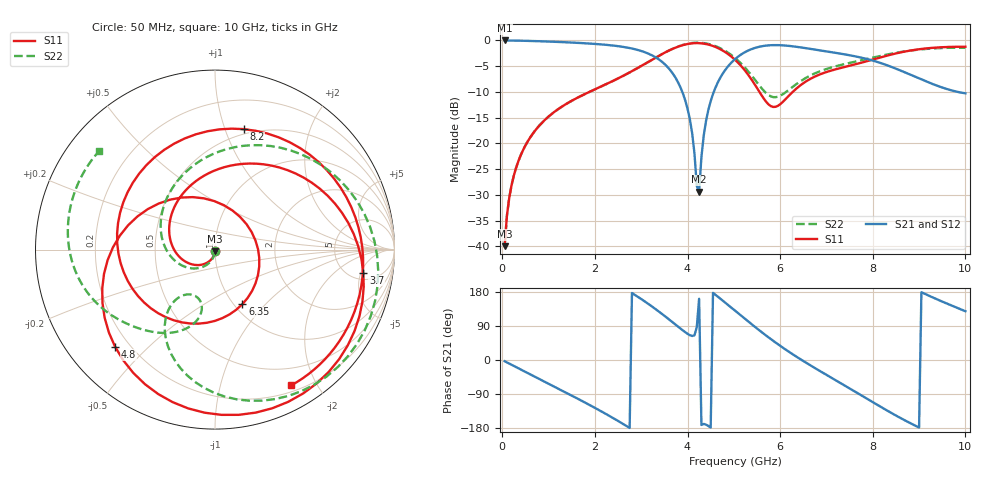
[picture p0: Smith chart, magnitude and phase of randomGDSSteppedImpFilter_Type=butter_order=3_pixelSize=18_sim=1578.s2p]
! freq	dB(S11)	phase(S11)	dB(S12)	phase(S12)
!  dB(S21)	phase(S21)	dB(S22)	phase(S22)
!S-par simulation data
#  GHz  S  DB  R 50
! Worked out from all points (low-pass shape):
!   200 points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, 50 MHz to 10 GHz, reference 50 ohm
!   highest |S21| = -0.01 dB at 50 MHz (marker M1); lowest = -29.4 dB at 4.25 GHz (marker M2)
!   |S21| within 3 dB of the highest: start of sweep to 3.256 GHz; 5.114 GHz to 7.574 GHz (2.46 GHz wide, 38.8 % of centre)
!   lowest |S11| = -40.0 dB at 50 MHz (marker M3), VSWR 1.02, Z = 50 - j1 ohm
!   |S11| at or under -10 dB: start of sweep to 1.883 GHz; 5.552 GHz to 6.273 GHz (720.4 MHz wide, 12.2 % of centre)
!   |S22| runs from -40.0 to -0.4 dB; largest |S21 - S12| = 0
!   S11 on the Smith chart (normalised r, x): 50 MHz: 1.00, -0.02; 3.7 GHz: 6.48, -5.49; 4.8 GHz: 0.15, -0.40; 6.35 GHz: 1.09, -0.75; 8.2 GHz: 0.45, +1.16; 10 GHz: 0.27, -1.67
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0.05  -39.98 -88.4  -0.01 -3.2  -0.01 -3.2  -39.97 -87.7
0.2  -28.13 -103.3  -0.03 -12.5  -0.03 -12.5  -28.12 -100.7
0.5  -20.41 -125.0  -0.08 -31.2  -0.08 -31.2  -20.39 -118.3
1.15  -13.72 -170.2  -0.28 -71.8  -0.28 -71.8  -13.73 -155.0
1.75  -10.57 148.2  -0.54 -109.9  -0.54 -109.9  -10.58 170.3
2.65  -6.70 83.4  -1.32 -171.8  -1.32 -171.8  -6.72 110.8
3.4  -2.90 21.0  -3.83 126.1  -3.83 126.1  -2.90 47.9
3.7  -1.56 -8.8  -6.68 97.4  -6.68 97.4  -1.54 18.5
4.05  -0.63 -47.1  -15.32 65.5  -15.32 65.5  -0.57 -17.9
4.25  -0.54 -70.1  -29.38 161.5  -29.38 161.5  -0.45 -38.6
4.4  -0.71 -87.7  -15.61 -170.6  -15.61 -170.6  -0.59 -53.7
4.8  -2.20 -135.8  -5.92 152.6  -5.92 152.6  -1.96 -90.3
5.05  -3.97 -167.7  -3.45 127.4  -3.45 127.4  -3.60 -109.5
5.55  -9.97 112.9  -1.23 78.3  -1.23 78.3  -8.75 -128.3
5.95  -12.72 12.7  -0.92 41.8  -0.92 41.8  -10.94 -110.3
6.35  -9.36 -63.4  -1.24 8.9  -1.24 8.9  -8.49 -102.8
6.7  -7.24 -108.5  -1.71 -17.6  -1.71 -17.6  -6.61 -109.9
7.45  -5.04 164.7  -2.80 -71.4  -2.80 -71.4  -4.48 -131.5
8.2  -3.22 76.6  -4.49 -125.7  -4.49 -125.7  -2.95 -153.3
8.35  -2.86 60.4  -4.97 -136.2  -4.97 -136.2  -2.67 -158.2
9.05  -1.66 -2.9  -7.59 178.9  -7.59 178.9  -1.74 176.8
10  -1.23 -60.7  -10.29 128.7  -10.29 128.7  -1.44 139.8
